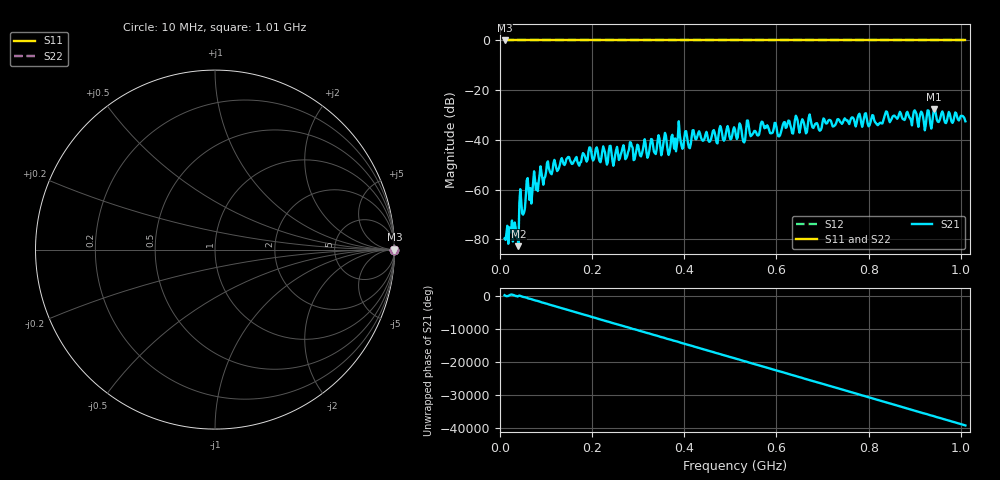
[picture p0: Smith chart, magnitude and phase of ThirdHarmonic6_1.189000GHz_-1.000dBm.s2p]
! 8/16/2025 12:12:51 PM
! C:\ANRITSUVNA\TEMP\TEMP.S2P
! CHANNEL.1
! TR.MEASUREMENT
! RAW.DATA
! RF.CORRECTION.OFF
! AVERAGING.OFF
! IF.BANDWIDTH: 5KHZ
! SWEEPTYPE:  FREQ.SWEEP(Linear)
! Reference Plane Port Info
! PORT:  PORT1  PORT2
! DISTANCE:  0  m  0  m
! TIME:  0  s  0  s
! PHASE.OFFSET:  0  deg.  0  deg.
! LOSS:  0  dB  0  dB
! REF.LOSS:  0  dB  0  dB
! REF.FREQ:  0  Hz  0  Hz
! Power Info
! POWER:  -20  dBm  -20  dBm
! EFF.POWER:  -20  dBm  -20  dBm
! SOURCE.ATTEN:  0  dB  0  dB
! TEST.ATTEN:  0  dB  0  dB
# GHZ S RI R 50.0
! FREQ.GHZ  S11RE  S11IM  S21RE  S21IM  S12RE  S12IM  S22RE  S22IM
!; PortSelection: Port_12
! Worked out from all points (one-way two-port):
!   501 points, 10 MHz to 1.01 GHz, reference 50 ohm
!   highest |S21| = -27.66 dB at 942 MHz (marker M1); lowest = -82.8 dB at 40 MHz (marker M2)
!   lowest |S11| = 0.0 dB at 10 MHz (marker M3)
!   |S11| at or under -10 dB: nowhere
!   |S22| runs from 0.0 to 0.0 dB; largest |S21 - S12| = 1
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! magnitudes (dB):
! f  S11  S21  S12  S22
! 10 MHz  0.0  -79.7  0.0  0.0
! 36 MHz  0.0  -79.4  0.0  0.0
! 40 MHz  0.0  -82.8  0.0  0.0
! 60 MHz  0.0  -55.4  0.0  0.0
! 66 MHz  0.0  -59.4  0.0  0.0
! 104 MHz  0.0  -48.6  0.0  0.0
! 178 MHz  0.0  -46.7  0.0  0.0
! 240 MHz  0.0  -42.4  0.0  0.0
! 246 MHz  0.0  -50.4  0.0  0.0
! 284 MHz  0.0  -41.1  0.0  0.0
! 322 MHz  0.0  -46.3  0.0  0.0
! 344 MHz  0.0  -38.1  0.0  0.0
! 358 MHz  0.0  -37.2  0.0  0.0
! 366 MHz  0.0  -46.1  0.0  0.0
! 388 MHz  0.0  -32.5  0.0  0.0
! 412 MHz  0.0  -43.4  0.0  0.0
! 420 MHz  0.0  -36.1  0.0  0.0
! 510 MHz  0.0  -35.9  0.0  0.0
! 678 MHz  0.0  -34.9  0.0  0.0
! 844 MHz  0.0  -31.8  0.0  0.0
! 942 MHz  0.0  -27.7  0.0  0.0
! 1.01 GHz  0.0  -32.5  0.0  0.0
